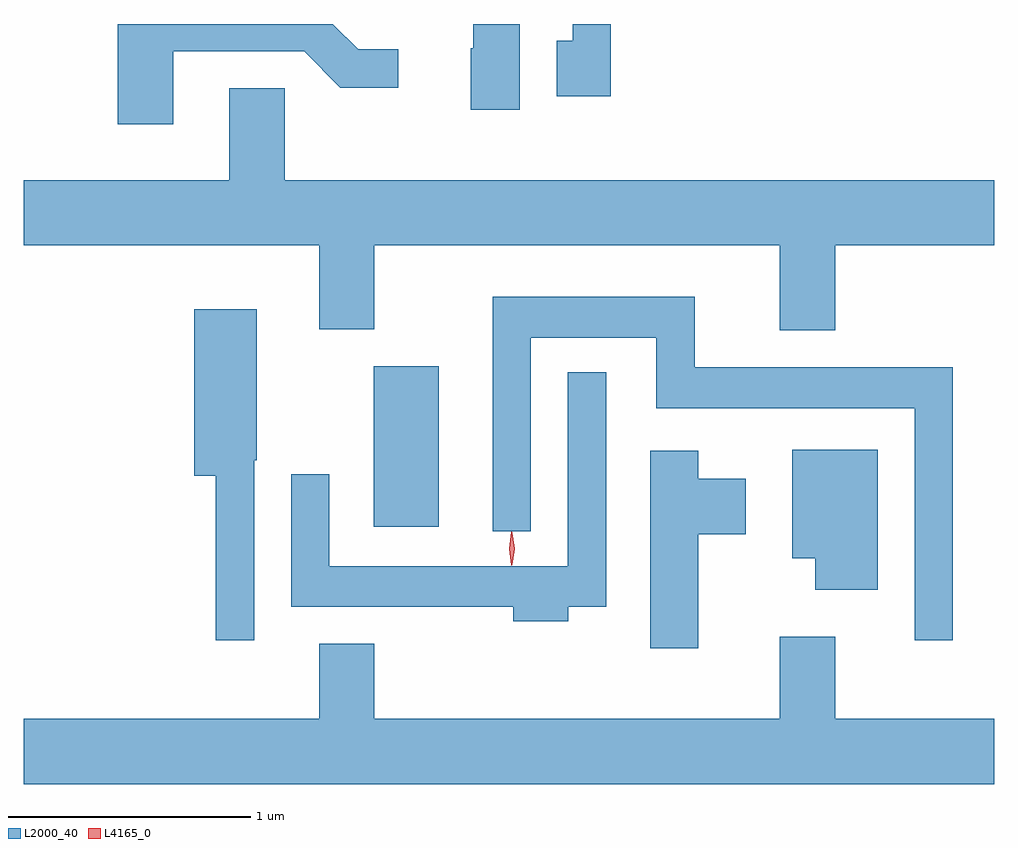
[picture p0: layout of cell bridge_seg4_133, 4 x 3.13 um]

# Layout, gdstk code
import gdstk
lib = gdstk.Library(unit=1e-6, precision=1e-09)
def R(c, l, rs):  # rectangles x0, y0, x1, y1
    for r in rs: c.add(gdstk.rectangle(r[:2], r[2:], *l))
def P(c, l, *ps):  # polygons
    for p in ps: c.add(gdstk.Polygon(p, *l))
L2000_40 = (2000, 40)
L4165_0 = (4165, 0)

bridge_seg4_133 = lib.new_cell('bridge_seg4_133')
R(bridge_seg4_133, L2000_40, [(887.926,1269.156,888.194,1269.819)])
P(bridge_seg4_133, L2000_40, [(888.529,1271.229),(888.336,1271.229),(888.336,1271.13),(888.326,1271.13),(888.326,1270.876),(888.529,1270.876)],
  [(887.099,1271.116),(887.639,1271.116),(887.789,1270.966),(888.028,1270.966),(888.028,1271.124),(887.862,1271.124),(887.757,1271.229),(886.871,1271.229),(886.871,1270.816),(887.099,1270.816)],
  [(888.904,1271.229),(888.746,1271.229),(888.746,1271.159),(888.681,1271.159),(888.681,1270.931),(888.904,1270.931)],
  [(889.829,1270.316),(890.484,1270.316),(890.484,1270.584),(887.559,1270.584),(887.559,1270.964),(887.331,1270.964),(887.331,1270.584),(886.484,1270.584),(886.484,1270.316),(887.701,1270.316),(887.701,1269.971),(887.929,1269.971),(887.929,1270.316),(889.601,1270.316),(889.601,1269.966),(889.829,1269.966)],
  [(890.314,1269.814),(889.249,1269.814),(889.249,1270.104),(888.416,1270.104),(888.416,1269.138),(888.574,1269.138),(888.574,1269.936),(889.091,1269.936),(889.091,1269.646),(890.156,1269.646),(890.156,1268.688),(890.314,1268.688)],
  [(887.434,1269.43),(887.444,1269.43),(887.444,1270.054),(887.186,1270.054),(887.186,1269.366),(887.276,1269.366),(887.276,1268.688),(887.434,1268.688)],
  [(888.729,1268.826),(888.884,1268.826),(888.884,1269.793),(888.726,1269.793),(888.726,1268.994),(887.744,1268.994),(887.744,1269.373),(887.586,1269.373),(887.586,1268.826),(888.501,1268.826),(888.501,1268.766),(888.729,1268.766)],
  [(890.004,1269.474),(889.651,1269.474),(889.651,1269.026),(889.746,1269.026),(889.746,1268.896),(890.004,1268.896)],
  [(889.264,1269.126),(889.459,1269.126),(889.459,1269.354),(889.264,1269.354),(889.264,1269.469),(889.066,1269.469),(889.066,1268.656),(889.264,1268.656)],
  [(890.484,1268.364),(889.829,1268.364),(889.829,1268.704),(889.601,1268.704),(889.601,1268.364),(887.929,1268.364),(887.929,1268.674),(887.701,1268.674),(887.701,1268.364),(886.484,1268.364),(886.484,1268.096),(890.484,1268.096)])
P(bridge_seg4_133, L4165_0, [(888.497,1269),(888.487,1269.066),(888.496,1269.132),(888.497,1269.133),(888.498,1269.132),(888.507,1269.066),(888.498,1269),(888.498,1269)],
  [(888.494,1268.997),(888.485,1269.066),(888.494,1269.136),(888.495,1269.136),(888.495,1269.136),(888.505,1269.066),(888.495,1268.997),(888.495,1268.997)])

lib.write_gds('bridge_seg4_133.gds')
